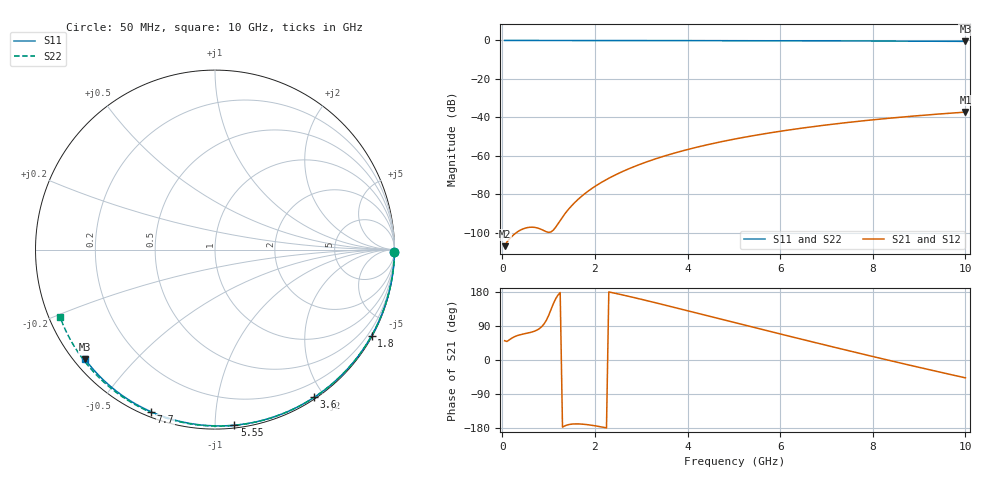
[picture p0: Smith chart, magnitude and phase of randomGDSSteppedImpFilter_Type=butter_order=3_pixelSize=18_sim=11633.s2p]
! freq	dB(S11)	phase(S11)	dB(S12)	phase(S12)
!  dB(S21)	phase(S21)	dB(S22)	phase(S22)
!S-par simulation data
#  GHz  S  DB  R 50
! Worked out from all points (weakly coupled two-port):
!   200 points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, 50 MHz to 10 GHz, reference 50 ohm
!   highest |S21| = -37.30 dB at 10 GHz (marker M1); lowest = -107.1 dB at 50 MHz (marker M2)
!   lowest |S11| = -0.5 dB at 10 GHz (marker M3), VSWR 36.68, Z = 1.55 - j18.3 ohm
!   |S11| at or under -10 dB: nowhere
!   |S22| runs from -0.5 to 0.0 dB; largest |S21 - S12| = 0
!   S11 on the Smith chart (normalised r, x): 50 MHz: open; 1.8 GHz: 0.03, -3.90; 3.6 GHz: 0.02, -1.88; 5.55 GHz: 0.02, -1.12; 7.7 GHz: 0.02, -0.68; 10 GHz: 0.03, -0.37
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0.05  -0.00 -0.8  -107.10 50.9  -107.10 50.9  -0.00 -0.9
0.45  -0.01 -7.3  -98.08 68.5  -98.08 68.5  -0.01 -8.2
0.85  -0.02 -13.7  -98.45 87.8  -98.45 87.8  -0.02 -15.4
1.3  -0.03 -20.9  -91.97 -177.2  -91.97 -177.2  -0.03 -23.4
1.75  -0.04 -28.0  -80.37 -169.5  -80.37 -169.5  -0.04 -31.3
1.8  -0.04 -28.8  -79.42 -170.1  -79.42 -170.1  -0.04 -32.2
1.95  -0.04 -31.1  -76.80 -172.6  -76.80 -172.6  -0.04 -34.8
2.1  -0.04 -33.4  -74.48 -175.7  -74.48 -175.7  -0.05 -37.4
2.3  -0.05 -36.5  -71.74 179.6  -71.74 179.6  -0.05 -40.9
2.5  -0.05 -39.6  -69.32 174.4  -69.32 174.4  -0.06 -44.3
2.9  -0.06 -45.7  -65.17 163.1  -65.17 163.1  -0.07 -51.1
3.4  -0.07 -53.2  -60.93 148.3  -60.93 148.3  -0.08 -59.4
3.6  -0.08 -56.1  -59.45 142.3  -59.45 142.3  -0.08 -62.7
4.3  -0.09 -66.3  -55.00 120.8  -55.00 120.8  -0.11 -74.0
5.05  -0.12 -76.8  -51.18 97.7  -51.18 97.7  -0.13 -85.6
5.55  -0.14 -83.7  -49.02 82.4  -49.02 82.4  -0.15 -93.2
6.1  -0.16 -91.0  -46.92 65.7  -46.92 65.7  -0.18 -101.3
6.7  -0.19 -98.9  -44.90 47.6  -44.90 47.6  -0.21 -110.0
7.7  -0.26 -111.6  -42.06 18.0  -42.06 18.0  -0.29 -124.2
8.35  -0.31 -119.7  -40.50 -0.9  -40.50 -0.9  -0.34 -133.3
9.2  -0.39 -130.1  -38.73 -25.0  -38.73 -25.0  -0.43 -145.2
10  -0.47 -139.8  -37.30 -47.1  -37.30 -47.1  -0.52 -156.4
